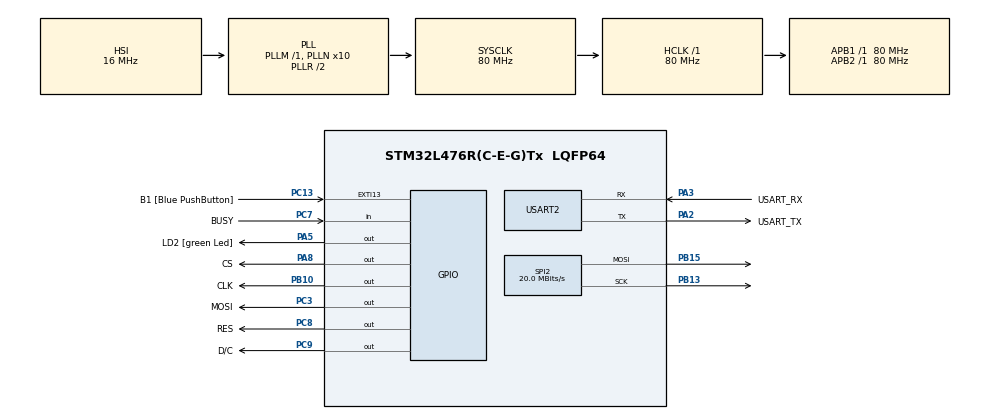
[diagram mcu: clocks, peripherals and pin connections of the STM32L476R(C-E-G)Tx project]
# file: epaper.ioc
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Mcu.Family=STM32L4
Mcu.Name=STM32L476R(C-E-G)Tx
Mcu.Package=LQFP64
NVIC.PriorityGroup=NVIC_PRIORITYGROUP_4
PA13\ (JTMS-SWDIO).GPIO_Label=TMS
PA13\ (JTMS-SWDIO).Mode=Serial_Wire
PA13\ (JTMS-SWDIO).Signal=SYS_JTMS-SWDIO
PA14\ (JTCK-SWCLK).GPIO_Label=TCK
PA14\ (JTCK-SWCLK).Mode=Serial_Wire
PA14\ (JTCK-SWCLK).Signal=SYS_JTCK-SWCLK
PA2.GPIO_Label=USART_TX
PA2.GPIO_Mode=GPIO_MODE_AF_PP
PA2.GPIO_PuPd=GPIO_NOPULL
PA2.GPIO_Speed=GPIO_SPEED_FREQ_VERY_HIGH
PA2.Mode=Asynchronous
PA2.Signal=USART2_TX
PA3.GPIO_Label=USART_RX
PA3.GPIO_Mode=GPIO_MODE_AF_PP
PA3.GPIO_PuPd=GPIO_NOPULL
PA3.GPIO_Speed=GPIO_SPEED_FREQ_VERY_HIGH
PA3.Mode=Asynchronous
PA3.Signal=USART2_RX
PA5.GPIO_Label=LD2 [green Led]
PA5.GPIO_ModeDefaultOutputPP=GPIO_MODE_OUTPUT_PP
PA5.GPIO_PuPd=GPIO_NOPULL
PA5.GPIO_Speed=GPIO_SPEED_FREQ_LOW
PA5.Signal=GPIO_Output
PA8.GPIO_Label=CS
PA8.Signal=GPIO_Output
PB10.GPIO_Label=CLK
PB10.Signal=GPIO_Output
PB13.Mode=TX_Only_Simplex_Unidirect_Master
PB13.Signal=SPI2_SCK
PB15.Mode=TX_Only_Simplex_Unidirect_Master
PB15.Signal=SPI2_MOSI
PB3\ (JTDO-TRACESWO).GPIO_Label=SWO
PB3\ (JTDO-TRACESWO).Signal=SYS_JTDO-SWO
PC13.GPIO_Label=B1 [Blue PushButton]
PC13.GPIO_ModeDefaultEXTI=GPIO_MODE_IT_FALLING
PC13.GPIO_PuPd=GPIO_NOPULL
PC13.Signal=GPXTI13
PC14-OSC32_IN\ (PC14).Mode=LSE-External-Oscillator
PC14-OSC32_IN\ (PC14).Signal=RCC_OSC32_IN
PC15-OSC32_OUT\ (PC15).Mode=LSE-External-Oscillator
PC15-OSC32_OUT\ (PC15).Signal=RCC_OSC32_OUT
PC3.GPIO_Label=MOSI
PC3.Signal=GPIO_Output
PC7.GPIO_Label=BUSY
PC7.Signal=GPIO_Input
PC8.GPIO_Label=RES
PC8.Signal=GPIO_Output
PC9.GPIO_Label=D/C
PC9.Signal=GPIO_Output
PH0-OSC_IN\ (PH0).Signal=RCC_OSC_IN
PH1-OSC_OUT\ (PH1).Signal=RCC_OSC_OUT
ProjectManager.HeapSize=0x200
ProjectManager.StackSize=0x400
ProjectManager.TargetToolchain=STM32CubeIDE
RCC.ADCFreq_Value=64000000
RCC.AHBFreq_Value=80000000
RCC.APB1Freq_Value=80000000
RCC.APB1TimFreq_Value=80000000
RCC.APB2Freq_Value=80000000
RCC.APB2TimFreq_Value=80000000
RCC.CortexFreq_Value=80000000
RCC.HCLKFreq_Value=80000000
RCC.HSE_VALUE=8000000
RCC.HSI_VALUE=16000000
RCC.MSI_VALUE=4000000
RCC.PLLN=10
RCC.PLLSourceVirtual=RCC_PLLSOURCE_HSI
RCC.PREFETCH_ENABLE=1
RCC.SYSCLKFreq_VALUE=80000000
RCC.SYSCLKSource=RCC_SYSCLKSOURCE_PLLCLK
RCC.USBFreq_Value=64000000
RCC.VCOOutputFreq_Value=160000000
SPI2.BaudRatePrescaler=SPI_BAUDRATEPRESCALER_4
SPI2.CalculateBaudRate=20.0 MBits/s
SPI2.DataSize=SPI_DATASIZE_8BIT
SPI2.Direction=SPI_DIRECTION_2LINES
SPI2.Mode=SPI_MODE_MASTER
SPI2.VirtualType=VM_MASTER
USART2.VirtualMode-Asynchronous=VM_ASYNC
board=NUCLEO-L476RG

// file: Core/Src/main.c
/* USER CODE BEGIN Header */
/**
 ******************************************************************************
 * @file           : main.c
 * @brief          : Main program body
 ******************************************************************************
 * @attention
 *
 * Copyright (c) 2024 STMicroelectronics.
 * All rights reserved.
 *
 * This software is licensed under terms that can be found in the LICENSE file
 * in the root directory of this software component.
 * If no LICENSE file comes with this software, it is provided AS-IS.
 *
 ******************************************************************************
 */
/* USER CODE END Header */
#include "main.h"
#include "spi.h"
#include "usart.h"
#include "gpio.h"

/* USER CODE BEGIN Includes */
//EPD
#include "Display_EPD_W21.h"
#include "Ap_29demo.h"
//GUI
#include "GUI_Paint.h"
#include "fonts.h"
/* USER CODE END Includes */

/* USER CODE BEGIN PV */
unsigned char BlackImage[5000];//Define canvas space
unsigned char fen_L,fen_H,miao_L,miao_H;
/* USER CODE END PV */

void SystemClock_Config(void);

int main(void)
{

  /* MCU Configuration--------------------------------------------------------*/

  /* Reset of all peripherals, Initializes the Flash interface and the Systick. */
  HAL_Init();

  /* Configure the system clock */
  SystemClock_Config();

  /* Initialize all configured peripherals */
  MX_GPIO_Init();
  MX_USART2_UART_Init();
  MX_SPI2_Init();
  /* USER CODE BEGIN 2 */
	//Clear screen
	EPD_HW_Init(); //Electronic paper initialization
	EPD_WhiteScreen_White(); //Show all white
	EPD_DeepSleep();  //Enter deep sleep,Sleep instruction is necessary, please do not delete!!!

	EPD_HW_Init(); //EPD init
	EPD_WhiteScreen_ALL(gImage_1);//EPD_picture1
	EPD_DeepSleep();//EPD_DeepSleep,Sleep instruction is necessary, please do not delete!!!
	HAL_Delay(5000);

	EPD_HW_Init(); //EPD init
	EPD_WhiteScreen_ALL(gImage_4);//EPD_picture1
	EPD_DeepSleep();//EPD_DeepSleep,Sleep instruction is necessary, please do not delete!!!
	HAL_Delay(5000);

	//////////////////////Partial refresh digital presentation//////////////////////////////////////
	EPD_HW_Init(); //Electronic paper initialization
	EPD_SetRAMValue_BaseMap(gImage_logo);  //Partial refresh background color
	EPD_Dis_Part(0,32,gImage_num1,32,32); //x,y,DATA,Resolution 32*32
	EPD_Dis_Part(0,32,gImage_num2,32,32); //x,y,DATA,Resolution 32*32
	EPD_Dis_Part(0,32,gImage_num3,32,32); //x,y,DATA,Resolution 32*32
	EPD_Dis_Part(0,32,gImage_num4,32,32); //x,y,DATA,Resolution 32*32
	HAL_Delay(2000);

	//////////////////////Partial refresh time demo/////////////////////////////////////
	EPD_HW_Init(); //Electronic paper initialization
	EPD_SetRAMValue_BaseMap(gImage_basemap); //Partial refresh background color
	for(fen_H=0;fen_H<6;fen_H++)
	{
		for(fen_L=0;fen_L<10;fen_L++)
		{
			for(miao_H=0;miao_H<6;miao_H++)
			{
				for(miao_L=0;miao_L<10;miao_L++)
				{
					EPD_Dis_Part_myself(64,40,Num[miao_L],         //x-A,y-A,DATA-A
							64,72,Num[miao_H],         //x-B,y-B,DATA-B
							64,112,gImage_numdot,       //x-C,y-C,DATA-C
							64,154,Num[fen_L],         //x-D,y-D,DATA-D
							64,186,Num[fen_H],32,64);	 //x-E,y-E,DATA-E,Resolution 32*64

					if((fen_L==0)&&(miao_H==0)&&(miao_L==5))
						goto Clear;
				}
			}

		}
	}

	////////////////////////////////////////////////////////////////////////
	//Clear screen
	Clear:
	EPD_DeepSleep();  //Enter deep sleep,Sleep instruction is necessary, please do not delete!!!

	///////////////////////////GUI///////////////////////////////////////////////////////////////////////////////////
	//Data initialization settings
	Paint_NewImage(BlackImage, EPD_WIDTH, EPD_HEIGHT, 270, WHITE); //Set screen size and display orientation
	Paint_SelectImage(BlackImage);//Set the virtual canvas data storage location

	/**************Drawing**********************/
	EPD_HW_Init_GUI(); //EPD init GUI
	Paint_Clear(WHITE);
	//Point
	Paint_DrawPoint(5, 10, BLACK, DOT_PIXEL_1X1, DOT_STYLE_DFT);
	Paint_DrawPoint(5, 25, BLACK, DOT_PIXEL_2X2, DOT_STYLE_DFT);
	Paint_DrawPoint(5, 40, BLACK, DOT_PIXEL_3X3, DOT_STYLE_DFT);
	Paint_DrawPoint(5, 55, BLACK, DOT_PIXEL_4X4, DOT_STYLE_DFT);
	//Line
	Paint_DrawLine(20, 10, 70, 60, BLACK, LINE_STYLE_SOLID, DOT_PIXEL_1X1);
	Paint_DrawLine(70, 10, 20, 60, BLACK, LINE_STYLE_SOLID, DOT_PIXEL_1X1);
	//Rectangle
	Paint_DrawRectangle(20, 10, 70, 60, BLACK, DRAW_FILL_EMPTY, DOT_PIXEL_1X1);
	Paint_DrawRectangle(85, 10, 130, 60, BLACK, DRAW_FILL_FULL, DOT_PIXEL_1X1);
	//Circle
	Paint_DrawCircle(30, 120, 25, BLACK, DRAW_FILL_EMPTY, DOT_PIXEL_1X1);
	Paint_DrawCircle(100, 120, 25, BLACK, DRAW_FILL_FULL, DOT_PIXEL_1X1);
	EPD_Display(BlackImage);//display image
	EPD_DeepSleep();//EPD_DeepSleep,Sleep instruction is necessary, please do not delete!!!
	HAL_Delay(2000); //2s

	/***********String***************************/
	EPD_HW_Init_GUI(); //EPD init GUI
	Paint_Clear(WHITE);
	Paint_DrawString_EN(0, 0, "Good Display", &Font8, WHITE, BLACK);  //5*8
	Paint_DrawString_EN(0, 10, "Good Display", &Font12, BLACK, WHITE); //7*12
	Paint_DrawString_EN(0, 25, "Good Display", &Font16, WHITE, BLACK); //11*16
	Paint_DrawString_EN(0, 45, "Good Display", &Font20, BLACK, WHITE); //14*20
	Paint_DrawString_EN(0, 80, "Good Display", &Font24, WHITE, BLACK); //17*24
	EPD_Display(BlackImage); //display image
	EPD_DeepSleep();//EPD_DeepSleep,Sleep instruction is necessary, please do not delete!!!
	HAL_Delay(2000); //2s
	/*************Number************************/
	EPD_HW_Init_GUI(); //EPD init GUI
	Paint_Clear(WHITE);
	Paint_DrawNum(0, 0, 123456789, &Font8, BLACK, WHITE);  //5*8
	Paint_DrawNum(0, 10, 123456789, &Font12, WHITE, BLACK); //7*12
	Paint_DrawNum(0, 25, 123456789, &Font16, BLACK, WHITE); //11*16
	Paint_DrawNum(0, 45, 123456789, &Font20, WHITE, BLACK); //14*20
	Paint_DrawNum(0, 70, 123456789, &Font24, BLACK, WHITE); //17*24
	EPD_Display(BlackImage); //display image
	EPD_DeepSleep();//EPD_DeepSleep,Sleep instruction is necessary, please do not delete!!!
	HAL_Delay(2000); //2s

	//Clear screen
	EPD_HW_Init(); //Electronic paper initialization
	EPD_WhiteScreen_White(); //Show all white
	EPD_DeepSleep();  //Enter deep sleep,Sleep instruction is necessary, please do not delete!!!

  /* USER CODE END 2 */

  /* Infinite loop */
	while (1)
	{

	}
}

void SystemClock_Config(void)
{
  RCC_OscInitTypeDef RCC_OscInitStruct = {0};
  RCC_ClkInitTypeDef RCC_ClkInitStruct = {0};

  /** Configure the main internal regulator output voltage
  */
  if (HAL_PWREx_ControlVoltageScaling(PWR_REGULATOR_VOLTAGE_SCALE1) != HAL_OK)
  {
    Error_Handler();
  }

  /** Initializes the RCC Oscillators according to the specified parameters
  * in the RCC_OscInitTypeDef structure.
  */
  RCC_OscInitStruct.OscillatorType = RCC_OSCILLATORTYPE_HSI;
  RCC_OscInitStruct.HSIState = RCC_HSI_ON;
  RCC_OscInitStruct.HSICalibrationValue = RCC_HSICALIBRATION_DEFAULT;
  RCC_OscInitStruct.PLL.PLLState = RCC_PLL_ON;
  RCC_OscInitStruct.PLL.PLLSource = RCC_PLLSOURCE_HSI;
  RCC_OscInitStruct.PLL.PLLM = 1;
  RCC_OscInitStruct.PLL.PLLN = 10;
  RCC_OscInitStruct.PLL.PLLP = RCC_PLLP_DIV7;
  RCC_OscInitStruct.PLL.PLLQ = RCC_PLLQ_DIV2;
  RCC_OscInitStruct.PLL.PLLR = RCC_PLLR_DIV2;
  if (HAL_RCC_OscConfig(&RCC_OscInitStruct) != HAL_OK)
  {
    Error_Handler();
  }

  /** Initializes the CPU, AHB and APB buses clocks
  */
  RCC_ClkInitStruct.ClockType = RCC_CLOCKTYPE_HCLK|RCC_CLOCKTYPE_SYSCLK
                              |RCC_CLOCKTYPE_PCLK1|RCC_CLOCKTYPE_PCLK2;
  RCC_ClkInitStruct.SYSCLKSource = RCC_SYSCLKSOURCE_PLLCLK;
  RCC_ClkInitStruct.AHBCLKDivider = RCC_SYSCLK_DIV1;
  RCC_ClkInitStruct.APB1CLKDivider = RCC_HCLK_DIV1;
  RCC_ClkInitStruct.APB2CLKDivider = RCC_HCLK_DIV1;

  if (HAL_RCC_ClockConfig(&RCC_ClkInitStruct, FLASH_LATENCY_4) != HAL_OK)
  {
    Error_Handler();
  }
}

void Error_Handler(void)
{
	__disable_irq();
	while (1)
	{
	}
}
